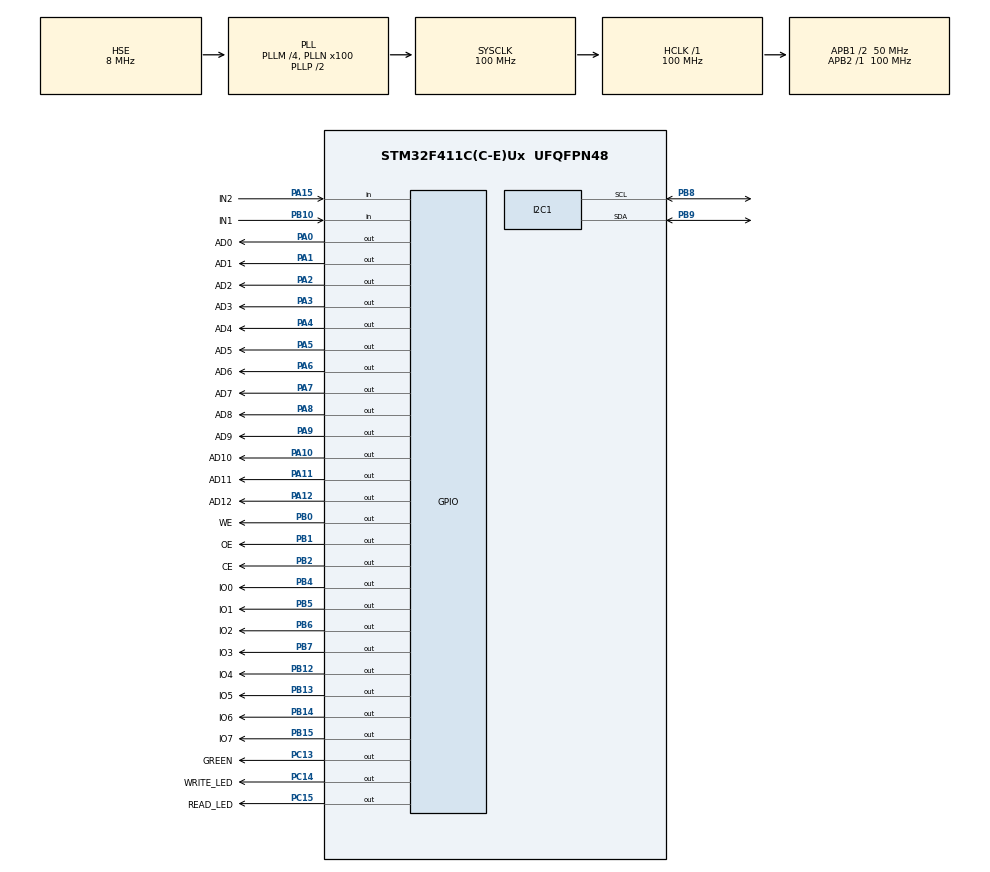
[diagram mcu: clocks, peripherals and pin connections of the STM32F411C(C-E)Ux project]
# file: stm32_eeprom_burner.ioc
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Mcu.Family=STM32F4
Mcu.Name=STM32F411C(C-E)Ux
Mcu.Package=UFQFPN48
NVIC.PriorityGroup=NVIC_PRIORITYGROUP_4
PA0-WKUP.GPIO_Label=AD0
PA0-WKUP.Signal=GPIO_Output
PA1.GPIO_Label=AD1
PA1.Signal=GPIO_Output
PA10.GPIO_Label=AD10
PA10.Signal=GPIO_Output
PA11.GPIO_Label=AD11
PA11.Signal=GPIO_Output
PA12.GPIO_Label=AD12
PA12.Signal=GPIO_Output
PA13.Mode=Trace_Asynchronous_SW
PA13.Signal=SYS_JTMS-SWDIO
PA14.Mode=Trace_Asynchronous_SW
PA14.Signal=SYS_JTCK-SWCLK
PA15.GPIO_Label=IN2
PA15.GPIO_PuPd=GPIO_PULLDOWN
PA15.Signal=GPIO_Input
PA2.GPIO_Label=AD2
PA2.Signal=GPIO_Output
PA3.GPIO_Label=AD3
PA3.Signal=GPIO_Output
PA4.GPIO_Label=AD4
PA4.Signal=GPIO_Output
PA5.GPIO_Label=AD5
PA5.Signal=GPIO_Output
PA6.GPIO_Label=AD6
PA6.Signal=GPIO_Output
PA7.GPIO_Label=AD7
PA7.Signal=GPIO_Output
PA8.GPIO_Label=AD8
PA8.Signal=GPIO_Output
PA9.GPIO_Label=AD9
PA9.Signal=GPIO_Output
PB0.GPIO_Label=WE
PB0.Signal=GPIO_Output
PB1.GPIO_Label=OE
PB1.Signal=GPIO_Output
PB10.GPIO_Label=IN1
PB10.GPIO_PuPd=GPIO_PULLDOWN
PB10.Signal=GPIO_Input
PB12.GPIO_Label=IO4
PB12.Signal=GPIO_Output
PB13.GPIO_Label=IO5
PB13.Signal=GPIO_Output
PB14.GPIO_Label=IO6
PB14.Signal=GPIO_Output
PB15.GPIO_Label=IO7
PB15.Signal=GPIO_Output
PB2.GPIO_Label=CE
PB2.Signal=GPIO_Output
PB3.Mode=Trace_Asynchronous_SW
PB3.Signal=SYS_JTDO-SWO
PB4.GPIO_Label=IO0
PB4.Signal=GPIO_Output
PB5.GPIO_Label=IO1
PB5.Signal=GPIO_Output
PB6.GPIO_Label=IO2
PB6.Signal=GPIO_Output
PB7.GPIO_Label=IO3
PB7.Signal=GPIO_Output
PB8.Mode=I2C
PB8.Signal=I2C1_SCL
PB9.Mode=I2C
PB9.Signal=I2C1_SDA
PC13-ANTI_TAMP.GPIO_Label=GREEN
PC13-ANTI_TAMP.Signal=GPIO_Output
PC14-OSC32_IN.GPIO_Label=WRITE_LED
PC14-OSC32_IN.Signal=GPIO_Output
PC15-OSC32_OUT.GPIO_Label=READ_LED
PC15-OSC32_OUT.Signal=GPIO_Output
PH0\ -\ OSC_IN.Mode=HSE-External-Oscillator
PH0\ -\ OSC_IN.Signal=RCC_OSC_IN
PH1\ -\ OSC_OUT.Mode=HSE-External-Oscillator
PH1\ -\ OSC_OUT.Signal=RCC_OSC_OUT
ProjectManager.HeapSize=0x200
ProjectManager.StackSize=0x400
ProjectManager.TargetToolchain=STM32CubeIDE
RCC.48MHZClocksFreq_Value=50000000
RCC.AHBFreq_Value=100000000
RCC.APB1CLKDivider=RCC_HCLK_DIV2
RCC.APB1Freq_Value=50000000
RCC.APB1TimFreq_Value=100000000
RCC.APB2Freq_Value=100000000
RCC.APB2TimFreq_Value=100000000
RCC.CortexFreq_Value=100000000
RCC.HCLKFreq_Value=100000000
RCC.HSE_VALUE=8000000
RCC.HSI_VALUE=16000000
RCC.LSE_VALUE=32768
RCC.PLLM=4
RCC.PLLN=100
RCC.PLLSourceVirtual=RCC_PLLSOURCE_HSE
RCC.SYSCLKFreq_VALUE=100000000
RCC.SYSCLKSource=RCC_SYSCLKSOURCE_PLLCLK
RCC.VCOOutputFreq_Value=200000000
TIM1.AutoReloadPreload=TIM_AUTORELOAD_PRELOAD_ENABLE
TIM1.Period=10
VP_TIM1_VS_ClockSourceINT.Mode=Internal
board=custom

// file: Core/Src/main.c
/* USER CODE BEGIN Header */
/**
  ******************************************************************************
  * @file           : main.c
  * @brief          : Main program body
  ******************************************************************************
  * @attention
  *
  * Copyright (c) 2025 STMicroelectronics.
  * All rights reserved.
  *
  * This software is licensed under terms that can be found in the LICENSE file
  * in the root directory of this software component.
  * If no LICENSE file comes with this software, it is provided AS-IS.
  *
  ******************************************************************************
  */
/* USER CODE END Header */
#include "main.h"

/* USER CODE BEGIN Includes */
#include <stdio.h>
#include <stdlib.h>
#include "ssd1306.h"
#include "ssd1306_fonts.h"
#include "eeprom_rw.h"

/* USER CODE END Includes */

I2C_HandleTypeDef hi2c1;

TIM_HandleTypeDef htim1;

/* USER CODE BEGIN PV */

uint8_t read_io_data = 0;
uint16_t read_io_addr = 0;

char dataText[] = "FFFF FF FF FF FF";
char welcomeText[] = "EEPROM BURNER";
char arafText[] = "ARAF";
char retVal;
uint16_t display_addr = 0;;

/* USER CODE END PV */

void SystemClock_Config(void);
static void MX_GPIO_Init(void);
static void MX_TIM1_Init(void);
static void MX_I2C1_Init(void);

/* USER CODE BEGIN 0 */

typedef enum control_bit_list {
	J,
	PCO,
	PCE,
	OE,
	BO,
	BI,
	SUB,
	EO,
	AO,
	AI,
	II,
	IO,
	RO,
	RI,
	MI,
	HLT
}control_bit_list_t;

typedef struct instruction{
	char 	mnemonic[3];
	uint8_t id;
	uint8_t step;
	uint8_t step_bit_count_list[10];
	control_bit_list_t control_bits[10][10];
}instruction_t;

typedef struct control_unit_lut{
	uint8_t addresses[200];
	uint16_t set_control_bits[200];
}control_unit_lut_t;

void instruction_struct_setup(instruction_t temp, instruction_t *target){
	  for(int i = 0; i < sizeof(temp.mnemonic); i++){
		  target->mnemonic[i] = temp.mnemonic[i];
	  }
	  target->id = temp.id;
	  target->step = temp.step;
	  for(int i = 0; i < temp.step; i++){
		  target->step_bit_count_list[i] = temp.step_bit_count_list[i];
		  for(int j = 0; j < temp.step_bit_count_list[i]; j++){
			  target->control_bits[i][j] = temp.control_bits[i][j];
		  }
	  }
}

uint8_t generate_eeprom_ISA_CU_table(instruction_t **instruction_list, control_unit_lut_t *output_CU_LUT, uint8_t total_instr){
	uint8_t _lines = 0;
	for(uint8_t i = 0; i < total_instr; i++){
		for(uint8_t j = 0; j < instruction_list[i]->step; j++){
			uint8_t _addr = 0;
			uint16_t _cbits = 0;
			_addr |= (instruction_list[i]->id << 3) | ((uint8_t)j);

			for(uint8_t k = 0; k < instruction_list[i]->step_bit_count_list[j]; k++){
				_cbits |= (1 << (instruction_list[i]->control_bits[j][k]));
			}
			output_CU_LUT->addresses[_lines] = _addr;
			output_CU_LUT->set_control_bits[_lines] = _cbits;
			_lines++;
		}
	}
	return _lines;
}

/* USER CODE END 0 */

int main(void)
{

  /* MCU Configuration--------------------------------------------------------*/

  /* Reset of all peripherals, Initializes the Flash interface and the Systick. */
  HAL_Init();

  /* Configure the system clock */
  SystemClock_Config();

  /* Initialize all configured peripherals */
  MX_GPIO_Init();
  MX_TIM1_Init();
  MX_I2C1_Init();
  /* USER CODE BEGIN 2 */

  ssd1306_Init();
  ssd1306_Fill(Black);
  ssd1306_SetCursor(15, 2);
  ssd1306_WriteString(welcomeText, Font_7x10, White);
  ssd1306_SetCursor(40, 14);
  ssd1306_WriteString(arafText, Font_7x10, White);
  ssd1306_UpdateScreen();
  HAL_Delay(500);

  HAL_TIM_Base_Start(&htim1);
  printf("  ARAF  EEPROM  BURNER  \n\n");

  //SDP_Disable();

  //erase_eeprom();

  uint8_t data[] = {0x01, 0x4f, 0x12, 0x06, 0x4c, 0x24, 0x20, 0x0f, 0x00, 0x04, 0x08, 0x60, 0x31, 0x42, 0x30, 0x38};
  uint8_t data[] = {0x7e, 0x30, 0x6d, 0x79, 0x33, 0x5b, 0x5f, 0x70, 0x7f, 0x7b, 0x77, 0x1f, 0x4e, 0x3d, 0x4f, 0x47};
  int _temp = 0;
  uint8_t digits[] = {0x7e, 0x30, 0x6d, 0x79, 0x33, 0x5b, 0x5f, 0x70, 0x7f, 0x7b};

  printf("\nProgramming ones place.\n\n");
  for(int value = 0; value <= 255; value += 1){
	  _temp += write_eeprom_addr(value, digits[value % 10]);
  }
  printf("\nProgramming tens place.\n\n");
  for(int value = 0; value <= 255; value += 1){
	  _temp += write_eeprom_addr(value + 256, digits[(value / 10) % 10]);
  }
  printf("\nProgramming hundreds place.\n\n");
  for(int value = 0; value <= 255; value += 1){
	  _temp += write_eeprom_addr(value + 512, digits[(value / 100) % 10]);
  }
  printf("\nProgramming sign place.\n\n");
  for(int value = 0; value <= 255; value += 1){
	  _temp += write_eeprom_addr(value + 768, 0);
  }
  printf("\nProgramming ones place (twos complement).\n\n");
  for(int value = -128; value <= 127; value += 1){
	  _temp += write_eeprom_addr((uint8_t)value + 1024, digits[abs(value) % 10]);
  }
  printf("\nProgramming tens place (twos complement).\n\n");
  for(int value = -128; value <= 127; value += 1){
	  _temp += write_eeprom_addr((uint8_t)value + 1280, digits[abs(value / 10) % 10]);
  }
  printf("\nProgramming hundreds place (twos complement).\n\n");
  for(int value = -128; value <= 127; value += 1){
	  _temp += write_eeprom_addr((uint8_t)value + 1536, digits[abs(value / 100) % 10]);
  }
  printf("\nProgramming sign place (twos complement).\n\n");
  for(int value = -128; value <= 127; value += 1){
	  if(value < 0){
		  _temp += write_eeprom_addr((uint8_t)value + 1792, 0x01);
	  } else {
		  _temp += write_eeprom_addr((uint8_t)value + 1792, 0);
	  }
  }

#define PROGRAM_EEPROM EEPROM_LSB

  printf("  Control Unit Decoder  \n\n");
  /* | HLT | MI | RI | RO | IO | II | AI | AO | EO | SUB | BI | BO | OE | PCE | PCO | J | */
  instruction_t *zro = (instruction_t*)malloc(sizeof(instruction_t));
  instruction_t temp1 = {"zro", 0b0000, 2, {2, 3}, {{MI, PCO}, {RO, II, PCE}}};
  instruction_struct_setup(temp1, zro);

  instruction_t *lda = (instruction_t*)malloc(sizeof(instruction_t));
  instruction_t temp2 = {"lda", 0b0001, 5, {2, 3, 2, 2, 0}, {{MI, PCO}, {RO, II, PCE}, {MI, IO}, {RO, AI}, {0}}};
  instruction_struct_setup(temp2, lda);

  instruction_t *add = (instruction_t*)malloc(sizeof(instruction_t));
  instruction_t temp3 = {"add", 0b0010, 5, {2, 3, 2, 2, 2}, {{MI, PCO}, {RO, II, PCE}, {MI, IO}, {RO, BI}, {AI, EO}}};
  instruction_struct_setup(temp3, add);

  instruction_t *out = (instruction_t*)malloc(sizeof(instruction_t));
  instruction_t temp4 = {"out", 0b1110, 5, {2, 3, 2, 0, 0}, {{MI, PCO}, {RO, II, PCE}, {AO, OE}, {0}, {0}}};
  instruction_struct_setup(temp4, out);

  instruction_t *hlt = (instruction_t*)malloc(sizeof(instruction_t));
  instruction_t temp5 = {"hlt", 0b1111, 5, {2, 3, 1, 0, 0}, {{MI, PCO}, {RO, II, PCE}, {HLT}, {0}, {0}}};
  instruction_struct_setup(temp5, hlt);

  instruction_t *sub = (instruction_t*)malloc(sizeof(instruction_t));
  instruction_t temp6 = {"sub", 0b0011, 5, {2, 3, 2, 2, 3}, {{MI, PCO}, {RO, II, PCE}, {MI, IO}, {RO, BI}, {AI, EO, SUB}}};
  instruction_struct_setup(temp6, sub);

  instruction_t *sta = (instruction_t*)malloc(sizeof(instruction_t));
  instruction_t temp7 = {"sta", 0b0100, 5, {2, 3, 2, 2, 0}, {{MI, PCO}, {RO, II, PCE}, {MI, IO}, {AO, RI}, {0}}};
  instruction_struct_setup(temp7, sta);

  instruction_t *ldi = (instruction_t*)malloc(sizeof(instruction_t));
  instruction_t temp8 = {"ldi", 0b0101, 5, {2, 3, 2, 0, 0}, {{MI, PCO}, {RO, II, PCE}, {AI, IO}, {0}, {0}}};
  instruction_struct_setup(temp8, ldi);

  instruction_t *jmp = (instruction_t*)malloc(sizeof(instruction_t));
  instruction_t temp9 = {"jmp", 0b0110, 5, {2, 3, 2, 0, 0}, {{MI, PCO}, {RO, II, PCE}, {J, IO}, {0}, {0}}};
  instruction_struct_setup(temp9, jmp);

  uint8_t intr_list = 9;
  instruction_t **list = (instruction_t**)malloc(intr_list*sizeof(instruction_t*));
  list[0] = zro;
  list[1] = lda;
  list[2] = add;
  list[3] = out;
  list[4] = hlt;
  list[5] = sub;
  list[6] = sta;
  list[7] = ldi;
  list[8] = jmp;

  control_unit_lut_t output_CU_LUT = {0};

  uint8_t ISA_CU_Lines = generate_eeprom_ISA_CU_table(list, &output_CU_LUT, intr_list);

  int _temp = 0;
  for(int i = 0; i < ISA_CU_Lines; i++){
	  _temp += write_eeprom_addr(output_CU_LUT.addresses[i], eeprom_control_unit_converter(output_CU_LUT.set_control_bits[i], PROGRAM_EEPROM));
  }
  printf("\nWrote %d/%d bytes to EEPROM.\n\n", _temp, ISA_CU_Lines);

  printContents();

  display_addr = 0;
//  ssd1306_Fill(Black);
//  sprintf(dataText, "%04x %02x %02x %02x %02x", display_addr, read_eeprom_addr(display_addr), read_eeprom_addr(display_addr + 1), read_eeprom_addr(display_addr + 2), read_eeprom_addr(display_addr + 3));
//  ssd1306_SetCursor(5, 1);
//  retVal = ssd1306_WriteString(dataText, Font_7x10, White);
//
//  display_addr += 4;
//  sprintf(dataText, "%04x %02x %02x %02x %02x", display_addr, read_eeprom_addr(display_addr), read_eeprom_addr(display_addr + 1), read_eeprom_addr(display_addr + 2), read_eeprom_addr(display_addr + 3));
//  ssd1306_SetCursor(5, 15);
//  retVal = ssd1306_WriteString(dataText, Font_7x10, White);
//  ssd1306_UpdateScreen();

  /* USER CODE END 2 */

  /* Infinite loop */
  /* USER CODE BEGIN WHILE */
  while (1)
  {
	  if(HAL_GPIO_ReadPin(IN1_GPIO_Port, IN1_Pin) == GPIO_PIN_SET){
		  display_addr += 4;
		  HAL_Delay(50);
	  }
	  if(HAL_GPIO_ReadPin(IN2_GPIO_Port, IN2_Pin) == GPIO_PIN_SET){
		  display_addr -= 4;
		  HAL_Delay(50);
	  }

	  ssd1306_Fill(Black);
	  sprintf(dataText, "%04x %02x %02x %02x %02x", display_addr, read_eeprom_addr(display_addr), read_eeprom_addr(display_addr + 1), read_eeprom_addr(display_addr + 2), read_eeprom_addr(display_addr + 3));
	  ssd1306_SetCursor(5, 1);
	  retVal = ssd1306_WriteString(dataText, Font_7x10, White);

	  sprintf(dataText, "%04x %02x %02x %02x %02x", (display_addr + 4), read_eeprom_addr(display_addr + 4), read_eeprom_addr(display_addr + 5), read_eeprom_addr(display_addr + 6), read_eeprom_addr(display_addr + 7));
	  ssd1306_SetCursor(5, 15);
	  retVal = ssd1306_WriteString(dataText, Font_7x10, White);
	  ssd1306_UpdateScreen();

    /* USER CODE END WHILE */

  }
}

void SystemClock_Config(void)
{
  RCC_OscInitTypeDef RCC_OscInitStruct = {0};
  RCC_ClkInitTypeDef RCC_ClkInitStruct = {0};

  /** Configure the main internal regulator output voltage
  */
  __HAL_RCC_PWR_CLK_ENABLE();
  __HAL_PWR_VOLTAGESCALING_CONFIG(PWR_REGULATOR_VOLTAGE_SCALE1);

  /** Initializes the RCC Oscillators according to the specified parameters
  * in the RCC_OscInitTypeDef structure.
  */
  RCC_OscInitStruct.OscillatorType = RCC_OSCILLATORTYPE_HSE;
  RCC_OscInitStruct.HSEState = RCC_HSE_ON;
  RCC_OscInitStruct.PLL.PLLState = RCC_PLL_ON;
  RCC_OscInitStruct.PLL.PLLSource = RCC_PLLSOURCE_HSE;
  RCC_OscInitStruct.PLL.PLLM = 4;
  RCC_OscInitStruct.PLL.PLLN = 100;
  RCC_OscInitStruct.PLL.PLLP = RCC_PLLP_DIV2;
  RCC_OscInitStruct.PLL.PLLQ = 4;
  if (HAL_RCC_OscConfig(&RCC_OscInitStruct) != HAL_OK)
  {
    Error_Handler();
  }

  /** Initializes the CPU, AHB and APB buses clocks
  */
  RCC_ClkInitStruct.ClockType = RCC_CLOCKTYPE_HCLK|RCC_CLOCKTYPE_SYSCLK
                              |RCC_CLOCKTYPE_PCLK1|RCC_CLOCKTYPE_PCLK2;
  RCC_ClkInitStruct.SYSCLKSource = RCC_SYSCLKSOURCE_PLLCLK;
  RCC_ClkInitStruct.AHBCLKDivider = RCC_SYSCLK_DIV1;
  RCC_ClkInitStruct.APB1CLKDivider = RCC_HCLK_DIV2;
  RCC_ClkInitStruct.APB2CLKDivider = RCC_HCLK_DIV1;

  if (HAL_RCC_ClockConfig(&RCC_ClkInitStruct, FLASH_LATENCY_3) != HAL_OK)
  {
    Error_Handler();
  }
}

static void MX_I2C1_Init(void)
{

  hi2c1.Instance = I2C1;
  hi2c1.Init.ClockSpeed = 100000;
  hi2c1.Init.DutyCycle = I2C_DUTYCYCLE_2;
  hi2c1.Init.OwnAddress1 = 0;
  hi2c1.Init.AddressingMode = I2C_ADDRESSINGMODE_7BIT;
  hi2c1.Init.DualAddressMode = I2C_DUALADDRESS_DISABLE;
  hi2c1.Init.OwnAddress2 = 0;
  hi2c1.Init.GeneralCallMode = I2C_GENERALCALL_DISABLE;
  hi2c1.Init.NoStretchMode = I2C_NOSTRETCH_DISABLE;
  if (HAL_I2C_Init(&hi2c1) != HAL_OK)
  {
    Error_Handler();
  }

}

static void MX_TIM1_Init(void)
{

  TIM_ClockConfigTypeDef sClockSourceConfig = {0};
  TIM_MasterConfigTypeDef sMasterConfig = {0};

  htim1.Instance = TIM1;
  htim1.Init.Prescaler = 0;
  htim1.Init.CounterMode = TIM_COUNTERMODE_UP;
  htim1.Init.Period = 10;
  htim1.Init.ClockDivision = TIM_CLOCKDIVISION_DIV1;
  htim1.Init.RepetitionCounter = 0;
  htim1.Init.AutoReloadPreload = TIM_AUTORELOAD_PRELOAD_ENABLE;
  if (HAL_TIM_Base_Init(&htim1) != HAL_OK)
  {
    Error_Handler();
  }
  sClockSourceConfig.ClockSource = TIM_CLOCKSOURCE_INTERNAL;
  if (HAL_TIM_ConfigClockSource(&htim1, &sClockSourceConfig) != HAL_OK)
  {
    Error_Handler();
  }
  sMasterConfig.MasterOutputTrigger = TIM_TRGO_RESET;
  sMasterConfig.MasterSlaveMode = TIM_MASTERSLAVEMODE_DISABLE;
  if (HAL_TIMEx_MasterConfigSynchronization(&htim1, &sMasterConfig) != HAL_OK)
  {
    Error_Handler();
  }

}

static void MX_GPIO_Init(void)
{
  GPIO_InitTypeDef GPIO_InitStruct = {0};

  /* GPIO Ports Clock Enable */
  __HAL_RCC_GPIOC_CLK_ENABLE();
  __HAL_RCC_GPIOH_CLK_ENABLE();
  __HAL_RCC_GPIOA_CLK_ENABLE();
  __HAL_RCC_GPIOB_CLK_ENABLE();

  /*Configure GPIO pin Output Level */
  HAL_GPIO_WritePin(GPIOC, GREEN_Pin|WRITE_LED_Pin|READ_LED_Pin, GPIO_PIN_RESET);

  /*Configure GPIO pin Output Level */
  HAL_GPIO_WritePin(GPIOA, AD0_Pin|AD1_Pin|AD2_Pin|AD3_Pin
                          |AD4_Pin|AD5_Pin|AD6_Pin|AD7_Pin
                          |AD8_Pin|AD9_Pin|AD10_Pin|AD11_Pin
                          |AD12_Pin, GPIO_PIN_RESET);

  /*Configure GPIO pin Output Level */
  HAL_GPIO_WritePin(GPIOB, WE_Pin|OE_Pin|CE_Pin|IO4_Pin
                          |IO5_Pin|IO6_Pin|IO7_Pin|IO0_Pin
                          |IO1_Pin|IO2_Pin|IO3_Pin, GPIO_PIN_RESET);

  /*Configure GPIO pins : GREEN_Pin WRITE_LED_Pin READ_LED_Pin */
  GPIO_InitStruct.Pin = GREEN_Pin|WRITE_LED_Pin|READ_LED_Pin;
  GPIO_InitStruct.Mode = GPIO_MODE_OUTPUT_PP;
  GPIO_InitStruct.Pull = GPIO_NOPULL;
  GPIO_InitStruct.Speed = GPIO_SPEED_FREQ_LOW;
  HAL_GPIO_Init(GPIOC, &GPIO_InitStruct);

  /*Configure GPIO pins : AD0_Pin AD1_Pin AD2_Pin AD3_Pin
                           AD4_Pin AD5_Pin AD6_Pin AD7_Pin
                           AD8_Pin AD9_Pin AD10_Pin AD11_Pin
                           AD12_Pin */
  GPIO_InitStruct.Pin = AD0_Pin|AD1_Pin|AD2_Pin|AD3_Pin
                          |AD4_Pin|AD5_Pin|AD6_Pin|AD7_Pin
                          |AD8_Pin|AD9_Pin|AD10_Pin|AD11_Pin
                          |AD12_Pin;
  GPIO_InitStruct.Mode = GPIO_MODE_OUTPUT_PP;
  GPIO_InitStruct.Pull = GPIO_NOPULL;
  GPIO_InitStruct.Speed = GPIO_SPEED_FREQ_LOW;
  HAL_GPIO_Init(GPIOA, &GPIO_InitStruct);

  /*Configure GPIO pins : WE_Pin OE_Pin CE_Pin IO4_Pin
                           IO5_Pin IO6_Pin IO7_Pin IO0_Pin
                           IO1_Pin IO2_Pin IO3_Pin */
  GPIO_InitStruct.Pin = WE_Pin|OE_Pin|CE_Pin|IO4_Pin
                          |IO5_Pin|IO6_Pin|IO7_Pin|IO0_Pin
                          |IO1_Pin|IO2_Pin|IO3_Pin;
  GPIO_InitStruct.Mode = GPIO_MODE_OUTPUT_PP;
  GPIO_InitStruct.Pull = GPIO_NOPULL;
  GPIO_InitStruct.Speed = GPIO_SPEED_FREQ_LOW;
  HAL_GPIO_Init(GPIOB, &GPIO_InitStruct);

  /*Configure GPIO pin : IN1_Pin */
  GPIO_InitStruct.Pin = IN1_Pin;
  GPIO_InitStruct.Mode = GPIO_MODE_INPUT;
  GPIO_InitStruct.Pull = GPIO_PULLDOWN;
  HAL_GPIO_Init(IN1_GPIO_Port, &GPIO_InitStruct);

  /*Configure GPIO pin : IN2_Pin */
  GPIO_InitStruct.Pin = IN2_Pin;
  GPIO_InitStruct.Mode = GPIO_MODE_INPUT;
  GPIO_InitStruct.Pull = GPIO_PULLDOWN;
  HAL_GPIO_Init(IN2_GPIO_Port, &GPIO_InitStruct);

}

/* USER CODE BEGIN 4 */

int _write(int file, char *ptr, int len)
{
  (void)file;
  int DataIdx;

  for (DataIdx = 0; DataIdx < len; DataIdx++)
  {
    ITM_SendChar(*ptr++);
  }
  return len;
}

/* USER CODE END 4 */

void Error_Handler(void)
{
  __disable_irq();
  while (1)
  {
  }
}
